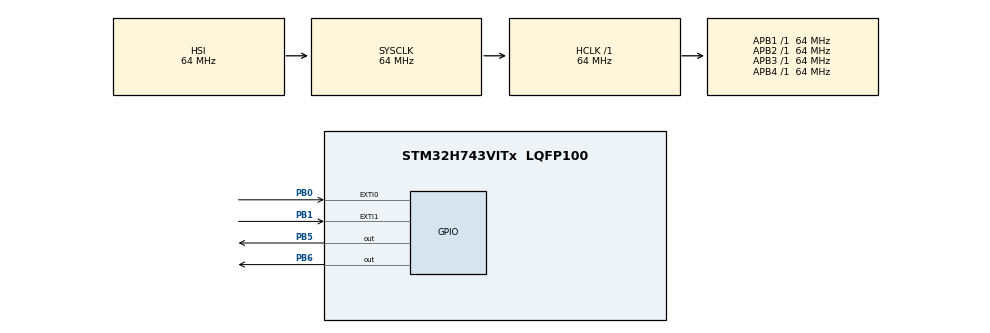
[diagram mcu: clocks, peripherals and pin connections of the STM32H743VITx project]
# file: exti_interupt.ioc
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CORTEX_M7.default_mode_Activation=1
Mcu.Family=STM32H7
Mcu.Name=STM32H743VITx
Mcu.Package=LQFP100
NVIC.EXTI0_IRQn=true\:1\:0\:true\:false\:true\:true\:true\:true
NVIC.EXTI1_IRQn=true\:2\:0\:true\:false\:true\:true\:true\:true
NVIC.PriorityGroup=NVIC_PRIORITYGROUP_4
PB0.GPIO_ModeDefaultEXTI=GPIO_MODE_IT_FALLING
PB0.GPIO_PuPd=GPIO_PULLUP
PB0.Signal=GPXTI0
PB1.GPIO_ModeDefaultEXTI=GPIO_MODE_IT_FALLING
PB1.GPIO_PuPd=GPIO_PULLUP
PB1.Signal=GPXTI1
PB5.Signal=GPIO_Output
PB6.Signal=GPIO_Output
PH0-OSC_IN\ (PH0).Mode=HSE-External-Oscillator
PH0-OSC_IN\ (PH0).Signal=RCC_OSC_IN
PH1-OSC_OUT\ (PH1).Mode=HSE-External-Oscillator
PH1-OSC_OUT\ (PH1).Signal=RCC_OSC_OUT
ProjectManager.HeapSize=0x200
ProjectManager.StackSize=0x400
ProjectManager.TargetToolchain=STM32CubeIDE
RCC.ADCFreq_Value=129000000
RCC.APB1Freq_Value=64000000
RCC.APB2Freq_Value=64000000
RCC.APB3Freq_Value=64000000
RCC.APB4Freq_Value=64000000
RCC.CortexFreq_Value=64000000
RCC.HCLKFreq_Value=64000000
RCC.SYSCLKFreq_VALUE=64000000
RCC.USBFreq_Value=129000000
VP_MEMORYMAP_VS_MEMORYMAP.Mode=CurAppReg
board=custom

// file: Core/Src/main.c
/* USER CODE BEGIN Header */
/**
  ******************************************************************************
  * @file           : main.c
  * @brief          : Main program body
  ******************************************************************************
  * @attention
  *
  * Copyright (c) 2025 STMicroelectronics.
  * All rights reserved.
  *
  * This software is licensed under terms that can be found in the LICENSE file
  * in the root directory of this software component.
  * If no LICENSE file comes with this software, it is provided AS-IS.
  *
  ******************************************************************************
  */
/* USER CODE END Header */
#include "main.h"

volatile uint8_t led5_state = 0; // State of LED on PB5 (0: OFF, 1: ON)
volatile uint8_t led6_state = 0; // State of LED on PB6 (0: OFF, 1: ON)
volatile uint8_t flag_btn1 = 0;
volatile uint8_t flag_btn2 = 0;

void SystemClock_Config(void);
static void MPU_Config(void);
static void MX_GPIO_Init(void);

/* USER CODE BEGIN 0 */
/* Interrupt callback function */
void HAL_GPIO_EXTI_Callback(uint16_t GPIO_Pin) {
    if (GPIO_Pin == GPIO_PIN_0) flag_btn1 = 1;
    else if (GPIO_Pin == GPIO_PIN_1) flag_btn2 = 1;
}

/* USER CODE END 0 */

int main(void)
{

  /* MPU Configuration--------------------------------------------------------*/
  MPU_Config();

  /* MCU Configuration--------------------------------------------------------*/

  /* Reset of all peripherals, Initializes the Flash interface and the Systick. */
  HAL_Init();

  /* Configure the system clock */
  SystemClock_Config();

  /* Initialize all configured peripherals */
  MX_GPIO_Init();

  /* Infinite loop */
  /* USER CODE BEGIN WHILE */
  while (1)
  {
	  if (flag_btn1) {
	              flag_btn1 = 0;
	              HAL_Delay(20);
	              if (HAL_GPIO_ReadPin(GPIOB, GPIO_PIN_0) == GPIO_PIN_RESET) {
	                  led5_state = !led5_state;
	                  HAL_GPIO_WritePin(GPIOB, GPIO_PIN_5, led5_state ? GPIO_PIN_SET : GPIO_PIN_RESET);
	              }
	          }

	          if (flag_btn2) {
	              flag_btn2 = 0;
	              HAL_Delay(20);
	              if (HAL_GPIO_ReadPin(GPIOB, GPIO_PIN_1) == GPIO_PIN_RESET) {
	                  led6_state = !led6_state;
	                  HAL_GPIO_WritePin(GPIOB, GPIO_PIN_6, led6_state ? GPIO_PIN_SET : GPIO_PIN_RESET);
	              }
	          }

    /* USER CODE END WHILE */

  }
}

void SystemClock_Config(void)
{
  RCC_OscInitTypeDef RCC_OscInitStruct = {0};
  RCC_ClkInitTypeDef RCC_ClkInitStruct = {0};

  /** Supply configuration update enable
  */
  HAL_PWREx_ConfigSupply(PWR_LDO_SUPPLY);

  /** Configure the main internal regulator output voltage
  */
  __HAL_PWR_VOLTAGESCALING_CONFIG(PWR_REGULATOR_VOLTAGE_SCALE3);

  while(!__HAL_PWR_GET_FLAG(PWR_FLAG_VOSRDY)) {}

  /** Initializes the RCC Oscillators according to the specified parameters
  * in the RCC_OscInitTypeDef structure.
  */
  RCC_OscInitStruct.OscillatorType = RCC_OSCILLATORTYPE_HSI;
  RCC_OscInitStruct.HSIState = RCC_HSI_DIV1;
  RCC_OscInitStruct.HSICalibrationValue = RCC_HSICALIBRATION_DEFAULT;
  RCC_OscInitStruct.PLL.PLLState = RCC_PLL_NONE;
  if (HAL_RCC_OscConfig(&RCC_OscInitStruct) != HAL_OK)
  {
    Error_Handler();
  }

  /** Initializes the CPU, AHB and APB buses clocks
  */
  RCC_ClkInitStruct.ClockType = RCC_CLOCKTYPE_HCLK|RCC_CLOCKTYPE_SYSCLK
                              |RCC_CLOCKTYPE_PCLK1|RCC_CLOCKTYPE_PCLK2
                              |RCC_CLOCKTYPE_D3PCLK1|RCC_CLOCKTYPE_D1PCLK1;
  RCC_ClkInitStruct.SYSCLKSource = RCC_SYSCLKSOURCE_HSI;
  RCC_ClkInitStruct.SYSCLKDivider = RCC_SYSCLK_DIV1;
  RCC_ClkInitStruct.AHBCLKDivider = RCC_HCLK_DIV1;
  RCC_ClkInitStruct.APB3CLKDivider = RCC_APB3_DIV1;
  RCC_ClkInitStruct.APB1CLKDivider = RCC_APB1_DIV1;
  RCC_ClkInitStruct.APB2CLKDivider = RCC_APB2_DIV1;
  RCC_ClkInitStruct.APB4CLKDivider = RCC_APB4_DIV1;

  if (HAL_RCC_ClockConfig(&RCC_ClkInitStruct, FLASH_LATENCY_1) != HAL_OK)
  {
    Error_Handler();
  }
}

static void MX_GPIO_Init(void)
{
  GPIO_InitTypeDef GPIO_InitStruct = {0};

  /* GPIO Ports Clock Enable */
  __HAL_RCC_GPIOH_CLK_ENABLE();
  __HAL_RCC_GPIOB_CLK_ENABLE();

  /*Configure GPIO pin Output Level */
  HAL_GPIO_WritePin(GPIOB, GPIO_PIN_5|GPIO_PIN_6, GPIO_PIN_RESET);

  /*Configure GPIO pins : PB0 PB1 */
  GPIO_InitStruct.Pin = GPIO_PIN_0|GPIO_PIN_1;
  GPIO_InitStruct.Mode = GPIO_MODE_IT_FALLING;
  GPIO_InitStruct.Pull = GPIO_PULLUP;
  HAL_GPIO_Init(GPIOB, &GPIO_InitStruct);

  /*Configure GPIO pins : PB5 PB6 */
  GPIO_InitStruct.Pin = GPIO_PIN_5|GPIO_PIN_6;
  GPIO_InitStruct.Mode = GPIO_MODE_OUTPUT_PP;
  GPIO_InitStruct.Pull = GPIO_NOPULL;
  GPIO_InitStruct.Speed = GPIO_SPEED_FREQ_LOW;
  HAL_GPIO_Init(GPIOB, &GPIO_InitStruct);

  /* EXTI interrupt init*/
  HAL_NVIC_SetPriority(EXTI0_IRQn, 1, 0);
  HAL_NVIC_EnableIRQ(EXTI0_IRQn);

  HAL_NVIC_SetPriority(EXTI1_IRQn, 2, 0);
  HAL_NVIC_EnableIRQ(EXTI1_IRQn);

}

 /* MPU Configuration */

void MPU_Config(void)
{
  MPU_Region_InitTypeDef MPU_InitStruct = {0};

  /* Disables the MPU */
  HAL_MPU_Disable();

  /** Initializes and configures the Region and the memory to be protected
  */
  MPU_InitStruct.Enable = MPU_REGION_ENABLE;
  MPU_InitStruct.Number = MPU_REGION_NUMBER0;
  MPU_InitStruct.BaseAddress = 0x0;
  MPU_InitStruct.Size = MPU_REGION_SIZE_4GB;
  MPU_InitStruct.SubRegionDisable = 0x87;
  MPU_InitStruct.TypeExtField = MPU_TEX_LEVEL0;
  MPU_InitStruct.AccessPermission = MPU_REGION_NO_ACCESS;
  MPU_InitStruct.DisableExec = MPU_INSTRUCTION_ACCESS_DISABLE;
  MPU_InitStruct.IsShareable = MPU_ACCESS_SHAREABLE;
  MPU_InitStruct.IsCacheable = MPU_ACCESS_NOT_CACHEABLE;
  MPU_InitStruct.IsBufferable = MPU_ACCESS_NOT_BUFFERABLE;

  HAL_MPU_ConfigRegion(&MPU_InitStruct);
  /* Enables the MPU */
  HAL_MPU_Enable(MPU_PRIVILEGED_DEFAULT);

}

void Error_Handler(void)
{
  __disable_irq();
  while (1)
  {
  }
}
